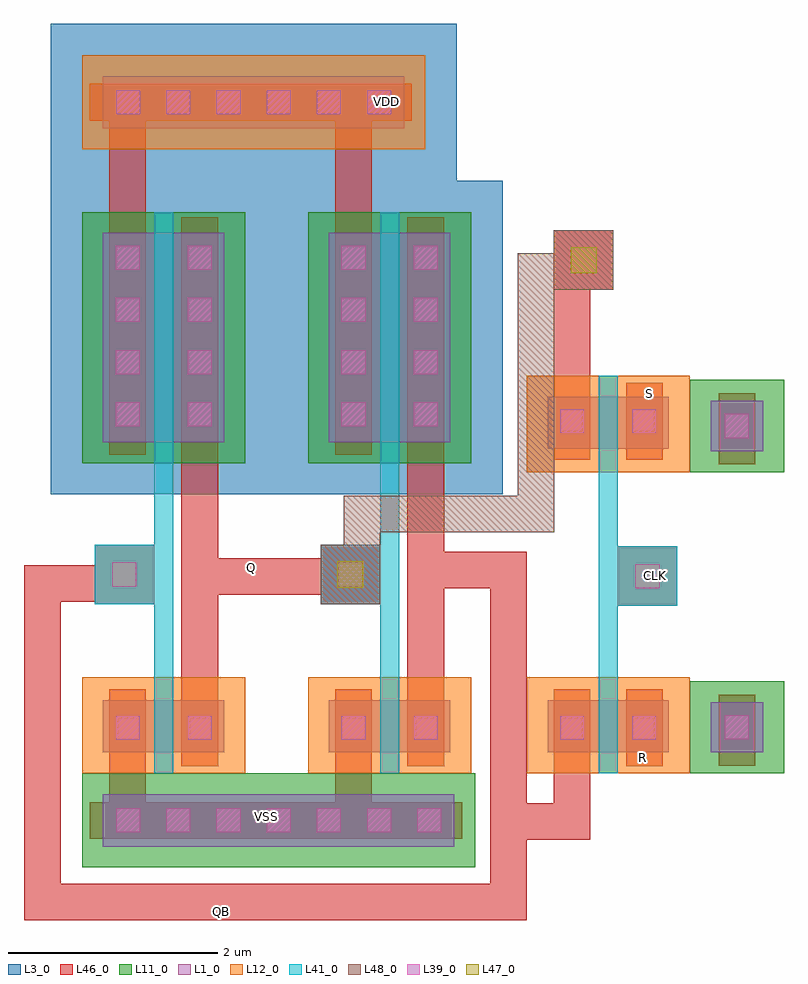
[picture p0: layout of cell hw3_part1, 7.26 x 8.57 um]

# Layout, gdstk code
from math import pi, radians
import gdstk
lib = gdstk.Library(unit=1e-6, precision=1e-09)
def R(c, l, rs):  # rectangles x0, y0, x1, y1
    for r in rs: c.add(gdstk.rectangle(r[:2], r[2:], *l))
L1_0 = (1, 0)
L3_0 = (3, 0)
L11_0 = (11, 0)
L12_0 = (12, 0)
L39_0 = (39, 0)
L41_0 = (41, 0)
L46_0 = (46, 0)
L47_0 = (47, 0)
L48_0 = (48, 0)

via1 = lib.new_cell('VIA1')
R(via1, L46_0, [(-0.295,-0.295,0.275,0.275)])
R(via1, L47_0, [(-0.135,-0.135,0.115,0.115)])
R(via1, L48_0, [(-0.295,-0.295,0.275,0.275)])

cont = lib.new_cell('CONT')
R(cont, L39_0, [(-0.12,-0.12,0.11,0.11)])
R(cont, L41_0, [(-0.29,-0.29,0.28,0.28)])
R(cont, L46_0, [(-0.29,-0.29,0.28,0.28)])

nmos_body = lib.new_cell('nmos_body')
R(nmos_body, L1_0, [(-0.22,-0.185,0.26,0.315)])
R(nmos_body, L11_0, [(-0.42,-0.385,0.46,0.515)])
R(nmos_body, L39_0, [(-0.095,-0.05,0.135,0.18)])
R(nmos_body, L46_0, [(-0.348,-0.11,0.332,0.24)])

pmos_body = lib.new_cell('pmos_body')
R(pmos_body, L1_0, [(-0.305,-0.355,0.175,0.145)])
R(pmos_body, L3_0, [(-0.805,-0.855,0.675,0.645)])
R(pmos_body, L12_0, [(-0.505,-0.555,0.375,0.345)])
R(pmos_body, L39_0, [(-0.18,-0.22,0.05,0.01)])
R(pmos_body, L46_0, [(-0.433,-0.28,0.247,0.07)])

nmos_small = lib.new_cell('nmos_small')
R(nmos_small, L1_0, [(-3.8,0.175,-2.64,0.675)])
R(nmos_small, L12_0, [(-4,-0.045,-2.44,0.875)])
R(nmos_small, L39_0, [(-3.68,0.325,-3.45,0.555), (-2.99,0.325,-2.76,0.555)])
R(nmos_small, L41_0, [(-3.31,-1.025,-3.13,0.875)])
R(nmos_small, L46_0, [(-3.74,0.073,-3.39,0.808), (-3.05,0.073,-2.7,0.808)])

pmos_small = lib.new_cell('pmos_small')
R(pmos_small, L1_0, [(-0.57,-0.225,0.59,0.275)])
R(pmos_small, L3_0, [(-1.07,-0.725,1.09,0.775)])
R(pmos_small, L11_0, [(-0.77,-0.425,0.79,0.475)])
R(pmos_small, L39_0, [(-0.45,-0.075,-0.22,0.155), (0.24,-0.075,0.47,0.155)])
R(pmos_small, L41_0, [(-0.08,-1.49,0.1,0.475)])
R(pmos_small, L46_0, [(-0.51,-0.347,-0.16,0.428), (0.18,-0.342,0.53,0.423)])

hw3_part1 = lib.new_cell('hw3_part1')
hw3_part1.add(gdstk.FlexPath([(2.045,-4.185),(2.645,-4.185),(2.645,-3.575)], 0.35, ends="flush", simple_path=True, layer=46, datatype=0))  # L46_0
hw3_part1.add(gdstk.FlexPath([(1.265,-1.78),(2.035,-1.78),(2.035,-4.955),(-2.42,-4.955),(-2.42,-1.91),(-1.795,-1.91)], 0.35, ends="flush", simple_path=True, layer=46, datatype=0))  # L46_0
hw3_part1.add(gdstk.FlexPath([(2.645,-0.16),(2.645,1.075)], 0.35, ends="flush", simple_path=True, layer=46, datatype=0))  # L46_0
hw3_part1.add(gdstk.FlexPath([(-0.92,-1.845),(0.405,-1.845)], 0.35, ends="flush", simple_path=True, layer=46, datatype=0))  # L46_0
hw3_part1.add(gdstk.FlexPath([(1.245,-3.265),(1.245,-0.555)], 0.35, ends="flush", simple_path=True, layer=46, datatype=0))  # L46_0
hw3_part1.add(gdstk.FlexPath([(-0.915,-3.265),(-0.915,-0.555)], 0.35, ends="flush", simple_path=True, layer=46, datatype=0))  # L46_0
hw3_part1.add(gdstk.FlexPath([(0.555,-4.35),(0.555,-3.17)], 0.35, ends="flush", simple_path=True, layer=46, datatype=0))  # L46_0
hw3_part1.add(gdstk.FlexPath([(-1.605,-4.325),(-1.605,-3.145)], 0.35, ends="flush", simple_path=True, layer=46, datatype=0))  # L46_0
hw3_part1.add(gdstk.FlexPath([(0.555,1.51),(0.555,2.69)], 0.35, ends="flush", simple_path=True, layer=46, datatype=0))  # L46_0
hw3_part1.add(gdstk.FlexPath([(-1.605,1.51),(-1.605,2.69)], 0.35, ends="flush", simple_path=True, layer=46, datatype=0))  # L46_0
hw3_part1.add(gdstk.FlexPath([(0.635,-1.615),(0.635,-1.245),(2.3,-1.245),(2.3,1.07),(2.705,1.07)], 0.35, ends="flush", simple_path=True, layer=48, datatype=0))  # L48_0
hw3_part1.add(gdstk.Reference(via1, (2.765,1.19)))
hw3_part1.add(gdstk.Reference(via1, (0.535,-1.815)))
hw3_part1.add(gdstk.Reference(cont, (3.37,-1.835)))
hw3_part1.add(gdstk.Reference(cont, (0.53,-1.82)))
hw3_part1.add(gdstk.Reference(cont, (-1.63,-1.82)))
r = gdstk.Reference(nmos_body, (-1.62,-4.24)); r.repetition = gdstk.Repetition(7, 1, v1=(0.48,0), v2=(0,0.5)); hw3_part1.add(r)
hw3_part1.add(gdstk.Reference(nmos_body, (4.285,-3.305), rotation=pi/2))
hw3_part1.add(gdstk.Reference(nmos_body, (4.285,-0.425), rotation=pi/2))
r = gdstk.Reference(pmos_body, (-1.535,2.795)); r.repetition = gdstk.Repetition(6, 1, v1=(0.48,0), v2=(0,0.5)); hw3_part1.add(r)
hw3_part1.add(gdstk.Reference(nmos_small, (-0.23,-2.85), rotation=pi))
hw3_part1.add(gdstk.Reference(nmos_small, (6.21,-0.8)))
hw3_part1.add(gdstk.Reference(nmos_small, (-4.48,-2.85), rotation=pi))
hw3_part1.add(gdstk.Reference(nmos_small, (-2.32,-2.85), rotation=pi))
r = gdstk.Reference(pmos_small, (-1.27,-0.335)); r.repetition = gdstk.Repetition(1, 4, v1=(0.69,0), v2=(0,0.5)); hw3_part1.add(r)
r = gdstk.Reference(pmos_small, (0.89,-0.335)); r.repetition = gdstk.Repetition(1, 4, v1=(0.69,0), v2=(0,0.5)); hw3_part1.add(r)
hw3_part1.add(gdstk.Label('Q', (-0.425,-1.755), layer=101, texttype=0))
hw3_part1.add(gdstk.Label('S', (3.385,-0.095), layer=101, texttype=0))
hw3_part1.add(gdstk.Label('CLK', (3.44,-1.83), layer=101, texttype=0))
hw3_part1.add(gdstk.Label('VSS', (-0.28,-4.14), layer=101, texttype=0))
hw3_part1.add(gdstk.Label('VDD', (0.87,2.695), layer=101, texttype=0))
hw3_part1.add(gdstk.Label('R', (3.32,-3.575), layer=101, texttype=0))
hw3_part1.add(gdstk.Label('QB', (-0.705,-5.045), layer=101, texttype=0))

lib.write_gds('hw3_part1.gds')
